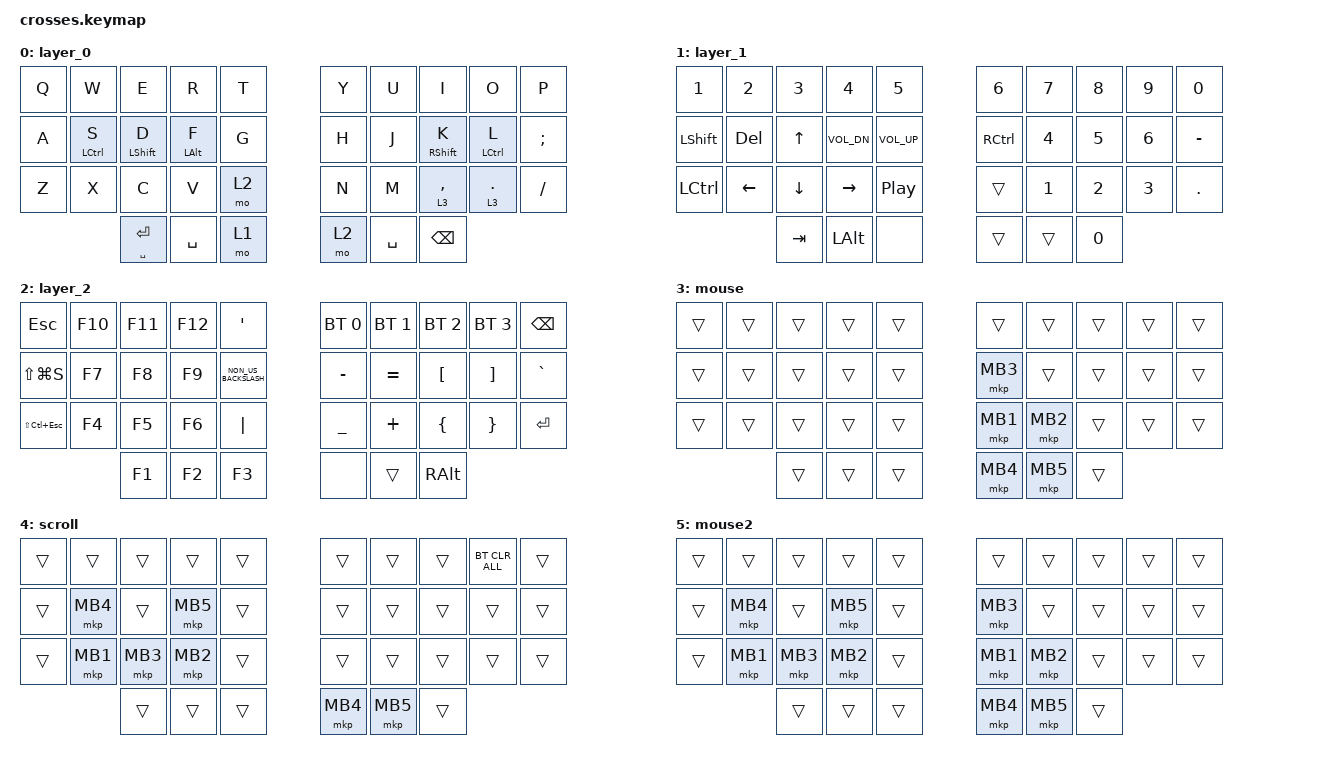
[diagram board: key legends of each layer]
#include <behaviors.dtsi>
#include <dt-bindings/zmk/bt.h>
#include <dt-bindings/zmk/keys.h>
#include <dt-bindings/zmk/pointing.h>

&lt {
    tapping-term-ms = <200>;
    flavor = "balanced";
    quick-tap-ms = <150>;
};

/ {
    combos {
        compatible = "zmk,combos";

        b {
            bindings = <&kp B>;
            key-positions = <25 26>;
        };

        scroll_l {
            bindings = <&mo 4>;
            key-positions = <21 22>;
        };

        mouse_L {
            bindings = <&mo 5>;
            key-positions = <31 32>;
        };

        scroll_R {
            bindings = <&mo 4>;
            key-positions = <15 16>;
        };

        space {
            bindings = <&kp SPACE>;
            key-positions = <34 35>;
        };
    };

    behaviors {
        hm: homrow_mods {
            compatible = "zmk,behavior-hold-tap";
            label = "HOMROWS_MODS";
            bindings = <&kp>, <&kp>;

            #binding-cells = <2>;
            tapping-term-ms = <150>;
            quick-tap-ms = <70>;
            flavor = "tap-preferred";
        };
    };

    keymap {
        compatible = "zmk,keymap";

        layer_0 {
            bindings = <
&kp Q  &kp W        &kp E             &kp R       &kp T    &kp Y  &kp U      &kp I          &kp O         &kp P
&kp A  &hm LCTRL S  &hm LEFT_SHIFT D  &hm LALT F  &kp G    &kp H  &kp J      &hm RSHFT K    &hm LCTRL L   &kp SEMICOLON
&kp Z  &kp X        &kp C             &kp V       &mo 2    &kp N  &kp M      &lt 3 COMMA    &lt 3 PERIOD  &kp FSLH
                    &hm SPACE ENTER   &kp SPACE   &mo 1    &mo 2  &kp SPACE  &kp BACKSPACE
            >;
        };

        layer_1 {
            bindings = <
&kp N1          &kp N2          &kp N3          &kp N4           &kp N5          &kp N6             &kp N7  &kp N8  &kp N9  &kp N0
&kp LEFT_SHIFT  &kp DEL         &kp UP_ARROW    &kp C_VOL_DN     &kp C_VOL_UP    &kp RIGHT_CONTROL  &kp N4  &kp N5  &kp N6  &kp MINUS
&kp LCTRL       &kp LEFT_ARROW  &kp DOWN_ARROW  &kp RIGHT_ARROW  &kp C_PP        &trans             &kp N1  &kp N2  &kp N3  &kp PERIOD
                                &kp TAB         &kp LEFT_ALT     &none           &trans             &trans  &kp N0
            >;
        };

        layer_2 {
            bindings = <
&kp ESCAPE          &kp F10  &kp F11  &kp F12  &kp SQT                 &bt BT_SEL 0    &bt BT_SEL 1  &bt BT_SEL 2      &bt BT_SEL 3       &kp BACKSPACE
&kp LS(LG(S))       &kp F7   &kp F8   &kp F9   &kp NON_US_BACKSLASH    &kp MINUS       &kp EQUAL     &kp LEFT_BRACKET  &kp RIGHT_BRACKET  &kp GRAVE
&kp LS(LC(ESCAPE))  &kp F4   &kp F5   &kp F6   &kp PIPE                &kp UNDERSCORE  &kp PLUS      &kp LEFT_BRACE    &kp RIGHT_BRACE    &kp ENTER
                             &kp F1   &kp F2   &kp F3                  &none           &trans        &kp RIGHT_ALT
            >;
        };

        mouse {
            bindings = <
&trans  &trans  &trans  &trans  &trans    &trans    &trans    &trans  &trans  &trans
&trans  &trans  &trans  &trans  &trans    &mkp MB3  &trans    &trans  &trans  &trans
&trans  &trans  &trans  &trans  &trans    &mkp MB1  &mkp MB2  &trans  &trans  &trans
                &trans  &trans  &trans    &mkp MB4  &mkp MB5  &trans
            >;
        };

        scroll {
            bindings = <
&trans  &trans    &trans    &trans    &trans    &trans    &trans    &trans  &bt BT_CLR_ALL  &trans
&trans  &mkp MB4  &trans    &mkp MB5  &trans    &trans    &trans    &trans  &trans          &trans
&trans  &mkp MB1  &mkp MB3  &mkp MB2  &trans    &trans    &trans    &trans  &trans          &trans
                  &trans    &trans    &trans    &mkp MB4  &mkp MB5  &trans
            >;
        };

        mouse2 {
            bindings = <
&trans  &trans    &trans    &trans    &trans    &trans    &trans    &trans  &trans  &trans
&trans  &mkp MB4  &trans    &mkp MB5  &trans    &mkp MB3  &trans    &trans  &trans  &trans
&trans  &mkp MB1  &mkp MB3  &mkp MB2  &trans    &mkp MB1  &mkp MB2  &trans  &trans  &trans
                  &trans    &trans    &trans    &mkp MB4  &mkp MB5  &trans
            >;
        };

        /* layer_2 {
            bindings = <
&none  &none   &none    &none   &none         &none         &kp N1         &none         &none     &none  &none   &to 0
&none  &none   &none    &none   &none         &none         &none         &none          &rgb_ug RGB_BRD &rgb_ug RGB_BRI  &rgb_ug RGB_EFF   &rgb_ug RGB_TOG
&none  &none   &none    &none   &none         &none         &none         &mkp LCLK     &mkp RCLK  &none  &none   &none
&none  &none   &none    &none   &bt BT_NXT  &bt BT_CLR    &none         &none         &none     &none  &none   &none
                                   &none         &none         &none         &none         &none
                                                 &none         &none         &none
            >;
       
            
        };

       Mouse {
            bindings = <
&none        &none         &none         &none         &none      &none         &none       &none      &none         &none         &none         &none
&none        &bt BT_SEL 0  &bt BT_SEL 1  &bt BT_SEL 3  &none      &bt BT_CLR    &bt BT_CLR  &none      &bt BT_SEL 2  &bt BT_SEL 1  &bt BT_SEL 0  &none
&none        &trans        &trans        &mkp MCLK     &trans     &none         &none       &trans     &mkp MCLK     &trans        &trans        &none
&bootloader  &trans        &mkp RCLK     &mo 4         &mkp LCLK  &mo 5         &mo 5       &mkp LCLK  &mo 4         &mkp RCLK     &trans        &bootloader
                                         &mo 5         &mkp LCLK  &mkp RCLK     &mkp RCLK   &mkp LCLK
                                                       &none      &trans        &trans
            >;

            
        };

        layer_4 {
            bindings = <
&trans  &trans  &trans     &trans     &trans     &trans       &trans     &trans     &trans     &trans     &trans  &trans
&trans  &trans  &trans     &trans     &trans     &trans       &trans     &trans     &trans     &trans     &trans  &trans
&trans  &trans  &trans     &mkp MCLK  &trans     &trans       &trans     &trans     &mkp MCLK  &trans     &trans  &trans
&trans  &trans  &mkp RCLK  &trans     &mkp LCLK  &trans       &trans     &mkp LCLK  &trans     &mkp RCLK  &trans  &trans
                           &trans     &mkp LCLK  &mkp RCLK    &mkp RCLK  &mkp LCLK
                                      &trans     &trans       &trans
            >;
                
                
               
        };

        layer_5 {
            bindings = <
&trans  &trans  &trans     &trans     &trans     &trans       &trans     &trans     &trans     &trans     &trans  &trans
&trans  &trans  &trans     &trans     &trans     &trans       &trans     &trans     &trans     &trans     &trans  &trans
&trans  &trans  &trans     &mkp MCLK  &trans     &trans       &trans     &trans     &mkp MCLK  &trans     &trans  &trans
&trans  &trans  &mkp RCLK  &trans     &mkp LCLK  &trans       &trans     &mkp LCLK  &trans     &mkp RCLK  &trans  &trans
                           &trans     &mkp LCLK  &mkp RCLK    &mkp RCLK  &mkp LCLK
                                      &trans     &trans       &trans
            >;
                
                
        };*/
    };
};
